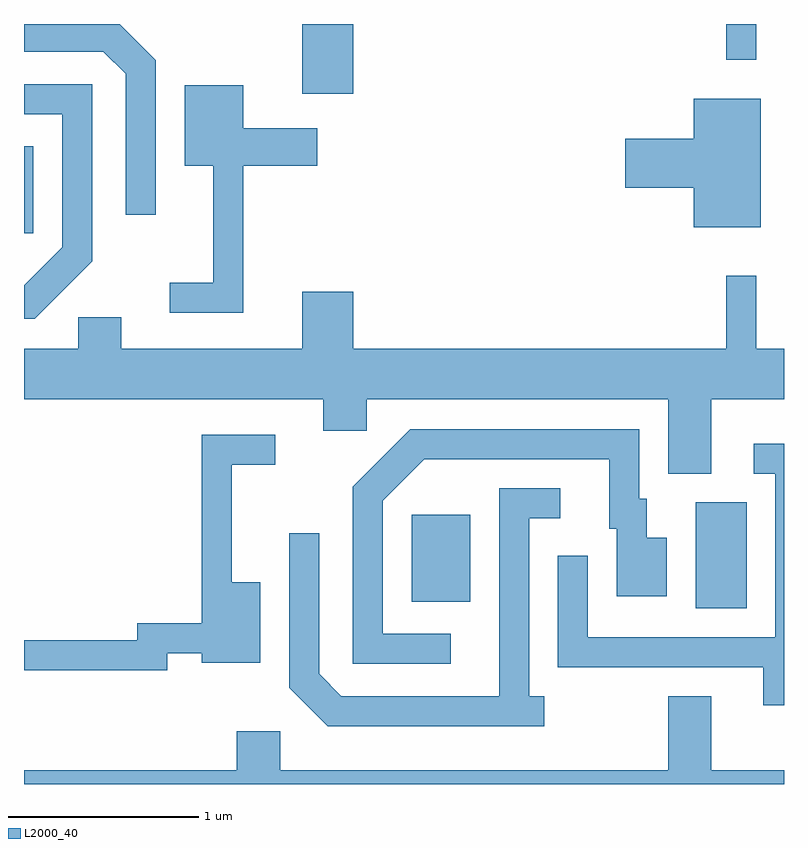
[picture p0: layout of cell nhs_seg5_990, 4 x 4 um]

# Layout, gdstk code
import gdstk
lib = gdstk.Library(unit=1e-6, precision=1e-09)
def R(c, l, rs):  # rectangles x0, y0, x1, y1
    for r in rs: c.add(gdstk.rectangle(r[:2], r[2:], *l))
def P(c, l, *ps):  # polygons
    for p in ps: c.add(gdstk.Polygon(p, *l))
L2000_40 = (2000, 40)

nhs_seg5_990 = lib.new_cell('nhs_seg5_990')
R(nhs_seg5_990, L2000_40, [(217.146,1488.996,217.414,1489.554), (215.651,1489.031,215.959,1489.489), (213.611,1490.971,213.659,1491.429), (215.076,1491.706,215.344,1492.072), (217.306,1491.883,217.464,1492.072)])
P(nhs_seg5_990, L2000_40, [(214.304,1491.882),(214.114,1492.072),(213.611,1492.072),(213.611,1491.926),(214.029,1491.926),(214.146,1491.809),(214.146,1491.068),(214.304,1491.068)],
  [(213.969,1490.824),(213.969,1491.754),(213.611,1491.754),(213.611,1491.596),(213.811,1491.596),(213.811,1490.897),(213.611,1490.696),(213.611,1490.521),(213.667,1490.521)],
  [(214.764,1491.326),(215.154,1491.326),(215.154,1491.524),(214.764,1491.524),(214.764,1491.749),(214.456,1491.749),(214.456,1491.326),(214.606,1491.326),(214.606,1490.709),(214.378,1490.709),(214.378,1490.551),(214.764,1490.551)],
  [(217.489,1491.679),(217.136,1491.679),(217.136,1491.469),(216.776,1491.469),(216.776,1491.211),(217.136,1491.211),(217.136,1491.001),(217.489,1491.001)],
  [(217.229,1490.096),(217.611,1490.096),(217.611,1490.364),(217.464,1490.364),(217.464,1490.748),(217.306,1490.748),(217.306,1490.364),(215.344,1490.364),(215.344,1490.664),(215.076,1490.664),(215.076,1490.364),(214.124,1490.364),(214.124,1490.529),(213.896,1490.529),(213.896,1490.364),(213.611,1490.364),(213.611,1490.096),(215.186,1490.096),(215.186,1489.931),(215.414,1489.931),(215.414,1490.096),(217.001,1490.096),(217.001,1489.706),(217.229,1489.706)],
  [(215.858,1488.864),(215.499,1488.864),(215.499,1489.564),(215.717,1489.781),(216.691,1489.781),(216.691,1489.416),(216.731,1489.416),(216.731,1489.061),(216.994,1489.061),(216.994,1489.369),(216.889,1489.369),(216.889,1489.574),(216.849,1489.574),(216.849,1489.939),(215.644,1489.939),(215.341,1489.637),(215.341,1488.706),(215.858,1488.706)],
  [(214.364,1488.761),(214.546,1488.761),(214.546,1488.711),(214.854,1488.711),(214.854,1489.134),(214.704,1489.134),(214.704,1489.751),(214.933,1489.751),(214.933,1489.909),(214.546,1489.909),(214.546,1488.919),(214.206,1488.919),(214.206,1488.829),(213.611,1488.829),(213.611,1488.671),(214.364,1488.671)],
  [(217.611,1489.864),(217.453,1489.864),(217.453,1489.706),(217.566,1489.706),(217.566,1488.844),(216.579,1488.844),(216.579,1489.273),(216.421,1489.273),(216.421,1488.686),(217.501,1488.686),(217.501,1488.486),(217.611,1488.486)],
  [(216.348,1488.534),(216.269,1488.534),(216.269,1489.471),(216.433,1489.471),(216.433,1489.629),(216.111,1489.629),(216.111,1488.534),(215.282,1488.534),(215.164,1488.652),(215.164,1489.393),(215.006,1489.393),(215.006,1488.579),(215.209,1488.376),(216.348,1488.376)],
  [(217.611,1488.144),(217.229,1488.144),(217.229,1488.534),(217.001,1488.534),(217.001,1488.144),(214.959,1488.144),(214.959,1488.349),(214.731,1488.349),(214.731,1488.144),(213.611,1488.144),(213.611,1488.072),(217.611,1488.072)])

lib.write_gds('nhs_seg5_990.gds')
